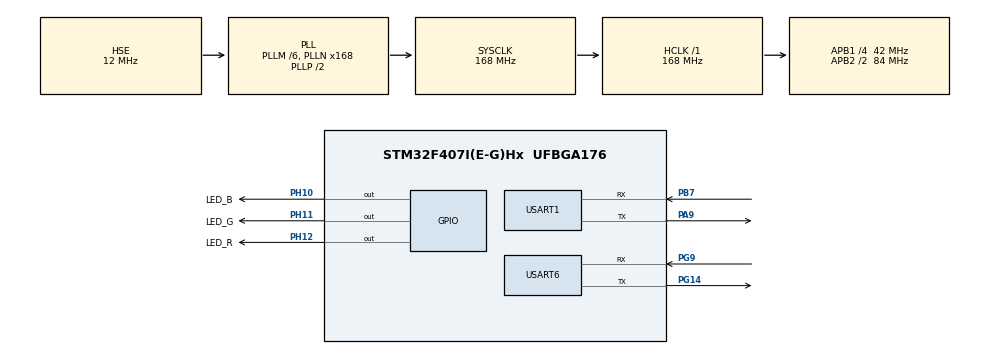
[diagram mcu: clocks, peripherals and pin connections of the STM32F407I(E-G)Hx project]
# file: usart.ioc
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Mcu.Family=STM32F4
Mcu.Name=STM32F407I(E-G)Hx
Mcu.Package=UFBGA176
NVIC.PriorityGroup=NVIC_PRIORITYGROUP_4
NVIC.USART1_IRQn=true\:0\:0\:false\:false\:false\:true\:true
NVIC.USART6_IRQn=true\:0\:0\:false\:false\:false\:true\:true
PA13.Mode=Serial_Wire
PA13.Signal=SYS_JTMS-SWDIO
PA14.Mode=Serial_Wire
PA14.Signal=SYS_JTCK-SWCLK
PA9.Mode=Asynchronous
PA9.Signal=USART1_TX
PB7.Mode=Asynchronous
PB7.Signal=USART1_RX
PD5.Signal=USART2_TX
PD6.Signal=USART2_RX
PG14.Mode=Asynchronous
PG14.Signal=USART6_TX
PG9.Mode=Asynchronous
PG9.Signal=USART6_RX
PH0-OSC_IN.Mode=HSE-External-Oscillator
PH0-OSC_IN.Signal=RCC_OSC_IN
PH1-OSC_OUT.Mode=HSE-External-Oscillator
PH1-OSC_OUT.Signal=RCC_OSC_OUT
PH10.GPIO_Label=LED_B
PH10.GPIO_PuPd=GPIO_PULLUP
PH10.GPIO_Speed=GPIO_SPEED_FREQ_HIGH
PH10.PinState=GPIO_PIN_SET
PH10.Signal=GPIO_Output
PH11.GPIO_Label=LED_G
PH11.GPIO_PuPd=GPIO_PULLUP
PH11.GPIO_Speed=GPIO_SPEED_FREQ_HIGH
PH11.PinState=GPIO_PIN_SET
PH11.Signal=GPIO_Output
PH12.GPIO_Label=LED_R
PH12.GPIO_PuPd=GPIO_PULLUP
PH12.GPIO_Speed=GPIO_SPEED_FREQ_HIGH
PH12.PinState=GPIO_PIN_SET
PH12.Signal=GPIO_Output
ProjectManager.HeapSize=0x200
ProjectManager.StackSize=0x400
ProjectManager.TargetToolchain=MDK-ARM V5
RCC.48MHZClocksFreq_Value=84000000
RCC.AHBFreq_Value=168000000
RCC.APB1CLKDivider=RCC_HCLK_DIV4
RCC.APB1Freq_Value=42000000
RCC.APB1TimFreq_Value=84000000
RCC.APB2CLKDivider=RCC_HCLK_DIV2
RCC.APB2Freq_Value=84000000
RCC.APB2TimFreq_Value=168000000
RCC.CortexFreq_Value=168000000
RCC.HCLKFreq_Value=168000000
RCC.HSE_VALUE=12000000
RCC.HSI_VALUE=16000000
RCC.LSE_VALUE=32768
RCC.PLLM=6
RCC.PLLN=168
RCC.PLLSourceVirtual=RCC_PLLSOURCE_HSE
RCC.SYSCLKFreq_VALUE=168000000
RCC.SYSCLKSource=RCC_SYSCLKSOURCE_PLLCLK
RCC.VCOOutputFreq_Value=336000000
USART1.VirtualMode=VM_ASYNC
USART6.VirtualMode=VM_ASYNC
board=custom

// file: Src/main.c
/* USER CODE BEGIN Header */
/**
  ******************************************************************************
  * @file           : main.c
  * @brief          : Main program body
  ******************************************************************************
  * @attention
  *
  * <h2><center>&copy; Copyright (c) 2019 STMicroelectronics.
  * All rights reserved.</center></h2>
  *
  * This software component is licensed by ST under BSD 3-Clause license,
  * the "License"; You may not use this file except in compliance with the
  * License. You may obtain a copy of the License at:
  *                        opensource.org/licenses/BSD-3-Clause
  *
  ******************************************************************************
  */
/* USER CODE END Header */
#include "main.h"
#include "usart.h"
#include "gpio.h"

void SystemClock_Config(void);

/* USER CODE BEGIN 0 */

#define BYTE0(dwTemp) (*( (char *)(&dwTemp)     ))
#define BYTE1(dwTemp) (*( (char *)(&dwTemp)+1     ))
#define BYTE2(dwTemp) (*( (char *)(&dwTemp)+2    ))
#define BYTE3(dwTemp) (*( (char *)(&dwTemp)+3    ))

uint8_t testdatatosend[50];
void TestSendData(uint8_t *dataToSend, uint8_t length);
void Test_Send_User (uint16_t data1, uint16_t data2, uint16_t data3,
					uint16_t data4, uint16_t data5, uint16_t data6,
					uint16_t data7,uint16_t data8,uint16_t data9,
					uint16_t data10);

void USART1_IRQHandler(void)
{
    volatile uint8_t receive;
    //receive interrupt 接收中断
    if(huart1.Instance->SR & UART_FLAG_RXNE)
    {
        receive = huart1.Instance->DR;
        HAL_GPIO_TogglePin(LED_R_GPIO_Port, LED_R_Pin);

    }
    //idle interrupt 空闲中断
    else if(huart1.Instance->SR & UART_FLAG_IDLE)
    {
        receive = huart1.Instance->DR;
        HAL_GPIO_WritePin(LED_R_GPIO_Port, LED_R_Pin, GPIO_PIN_RESET);
    }

//	else if(huart1.Instance->SR & UART_IT_TXE)
//    {
//        receive = huart1.Instance->DR;
//        HAL_GPIO_WritePin(LED_B_GPIO_Port, LED_B_Pin, GPIO_PIN_SET);
//    }
}

/* USER CODE END 0 */

int main(void)
{
  /* USER CODE BEGIN 1 */
int a,b,c=0;
  /* USER CODE END 1 */

  /* MCU Configuration--------------------------------------------------------*/

  /* Reset of all peripherals, Initializes the Flash interface and the Systick. */
  HAL_Init();

  /* Configure the system clock */
  SystemClock_Config();

  /* Initialize all configured peripherals */
  MX_GPIO_Init();
  MX_USART1_UART_Init();
  MX_USART6_UART_Init();
  /* USER CODE BEGIN 2 */

    HAL_GPIO_WritePin(LED_R_GPIO_Port, LED_R_Pin, GPIO_PIN_RESET);
    HAL_GPIO_WritePin(LED_G_GPIO_Port, LED_G_Pin, GPIO_PIN_RESET);
    HAL_GPIO_WritePin(LED_B_GPIO_Port, LED_B_Pin, GPIO_PIN_RESET);
    //enable receive interrupt and idle interrupt
    //使能接收中断和空闲中断
//    __HAL_UART_ENABLE_IT(&huart1, UART_IT_RXNE);  //receive interrupt
//    __HAL_UART_ENABLE_IT(&huart1, UART_IT_IDLE);  //idle interrupt
//    __HAL_UART_ENABLE_IT(&huart6, UART_IT_RXNE);  //receive interrupt
//    __HAL_UART_ENABLE_IT(&huart6, UART_IT_IDLE);  //idle interrupt
	//HAL_GPIO_WritePin(LED_G_GPIO_Port, LED_G_Pin, GPIO_PIN_SET);
//	__HAL_UART_ENABLE_IT(&huart1, UART_IT_TXE);
  /* USER CODE END 2 */

  /* Infinite loop */
  /* USER CODE BEGIN WHILE */
  while (1)
  {
	//send data by usart
	//串口发送数据
//	HAL_UART_Transmit(&huart1, "99999-\r\n", 12, 100);
//	HAL_GPIO_WritePin(LED_G_GPIO_Port, LED_G_Pin, GPIO_PIN_SET);
//	HAL_Delay(2000);
//	HAL_GPIO_WritePin(LED_G_GPIO_Port, LED_G_Pin, GPIO_PIN_RESET);
//	HAL_Delay(2000);
	HAL_Delay(20);  //20ms
	HAL_GPIO_WritePin(LED_G_GPIO_Port, LED_G_Pin, GPIO_PIN_SET);
	a+=2;
	if(a>=50)
		a=0;
	b=a*a + a*2+18;
	c=a/2;
	Test_Send_User(a,b,c,4,5,6,7,8,9,10);
	HAL_GPIO_WritePin(LED_G_GPIO_Port, LED_G_Pin, GPIO_PIN_RESET);
  }
    /* USER CODE END WHILE */

}

void SystemClock_Config(void)
{
  RCC_OscInitTypeDef RCC_OscInitStruct = {0};
  RCC_ClkInitTypeDef RCC_ClkInitStruct = {0};

  /** Configure the main internal regulator output voltage
  */
  __HAL_RCC_PWR_CLK_ENABLE();
  __HAL_PWR_VOLTAGESCALING_CONFIG(PWR_REGULATOR_VOLTAGE_SCALE1);
  /** Initializes the RCC Oscillators according to the specified parameters
  * in the RCC_OscInitTypeDef structure.
  */
  RCC_OscInitStruct.OscillatorType = RCC_OSCILLATORTYPE_HSE;
  RCC_OscInitStruct.HSEState = RCC_HSE_ON;
  RCC_OscInitStruct.PLL.PLLState = RCC_PLL_ON;
  RCC_OscInitStruct.PLL.PLLSource = RCC_PLLSOURCE_HSE;
  RCC_OscInitStruct.PLL.PLLM = 6;
  RCC_OscInitStruct.PLL.PLLN = 168;
  RCC_OscInitStruct.PLL.PLLP = RCC_PLLP_DIV2;
  RCC_OscInitStruct.PLL.PLLQ = 4;
  if (HAL_RCC_OscConfig(&RCC_OscInitStruct) != HAL_OK)
  {
    Error_Handler();
  }
  /** Initializes the CPU, AHB and APB buses clocks
  */
  RCC_ClkInitStruct.ClockType = RCC_CLOCKTYPE_HCLK|RCC_CLOCKTYPE_SYSCLK
                              |RCC_CLOCKTYPE_PCLK1|RCC_CLOCKTYPE_PCLK2;
  RCC_ClkInitStruct.SYSCLKSource = RCC_SYSCLKSOURCE_PLLCLK;
  RCC_ClkInitStruct.AHBCLKDivider = RCC_SYSCLK_DIV1;
  RCC_ClkInitStruct.APB1CLKDivider = RCC_HCLK_DIV4;
  RCC_ClkInitStruct.APB2CLKDivider = RCC_HCLK_DIV2;

  if (HAL_RCC_ClockConfig(&RCC_ClkInitStruct, FLASH_LATENCY_5) != HAL_OK)
  {
    Error_Handler();
  }
}

/* USER CODE BEGIN 4 */
void TestSendData(uint8_t *dataToSend, uint8_t length)
{
	HAL_UART_Transmit(&huart1,(uint8_t *)&testdatatosend, length, 0xffff);
}

void Test_Send_User (uint16_t data1, uint16_t data2, uint16_t data3,
					uint16_t data4, uint16_t data5, uint16_t data6,
					uint16_t data7,uint16_t data8,uint16_t data9,
					uint16_t data10)
{
	uint8_t _cnt=0;
	testdatatosend[_cnt++]=0xAA;
	testdatatosend[_cnt++]=0x05;
	testdatatosend[_cnt++]=0xAF;
	testdatatosend[_cnt++]=0xF1;
	testdatatosend[_cnt++]=0;

	testdatatosend[_cnt++]=BYTE1(data1);
	testdatatosend[_cnt++]=BYTE0(data1);

	testdatatosend[_cnt++]=BYTE1(data2);
	testdatatosend[_cnt++]=BYTE0(data2);

	testdatatosend[_cnt++]=BYTE1(data3);
	testdatatosend[_cnt++]=BYTE0(data3);

	testdatatosend[_cnt++]=BYTE1(data4);
	testdatatosend[_cnt++]=BYTE0(data4);

	testdatatosend[_cnt++]=BYTE1(data5);
	testdatatosend[_cnt++]=BYTE0(data5);

	testdatatosend[_cnt++]=BYTE1(data6);
	testdatatosend[_cnt++]=BYTE0(data6);

	testdatatosend[_cnt++]=BYTE1(data7);
	testdatatosend[_cnt++]=BYTE0(data7);

	testdatatosend[_cnt++]=BYTE1(data8);
	testdatatosend[_cnt++]=BYTE0(data8);

	testdatatosend[_cnt++]=BYTE1(data9);
	testdatatosend[_cnt++]=BYTE0(data9);

	testdatatosend[_cnt++]=BYTE1(data10);
	testdatatosend[_cnt++]=BYTE0(data10);

	testdatatosend[4] = _cnt - 5;

	uint8_t sum = 0;

	for(uint8_t i=0; i<_cnt; i++)
		sum += testdatatosend[i];

	testdatatosend[_cnt++]=sum;

	TestSendData(testdatatosend, _cnt);
}
/* USER CODE END 4 */

void Error_Handler(void)
{
}

/************************ (C) COPYRIGHT STMicroelectronics *****END OF FILE****/
